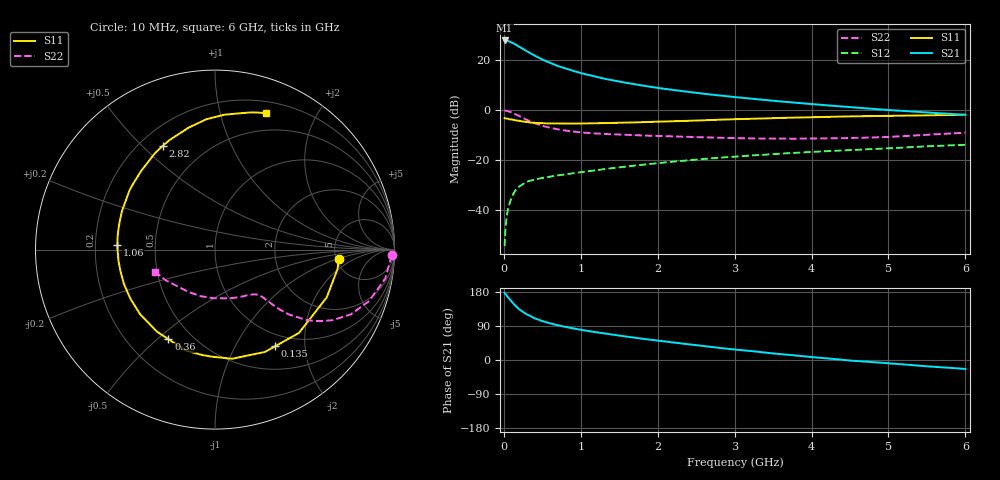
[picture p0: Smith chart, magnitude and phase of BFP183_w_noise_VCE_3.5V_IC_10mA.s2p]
! Infineon Technologies  Discrete & RF Semiconductors
! BFP183
! VCE = 3.5 V,  IC =  10 mA
! Common Emitter S-Parameters:  Jan 2016
# GHz  S  MA  R  50
!  f  S11  S21  S12  S22
! GHz  MAG  ANG  MAG  ANG  MAG  ANG  MAG  ANG
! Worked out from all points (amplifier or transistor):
!   210 points, 10 MHz to 6 GHz, reference 50 ohm
!   highest |S21| = 27.9 dB at 10 MHz (marker M1)
!   |S21| within 3 dB of that: start of sweep to 228.8 MHz
!   unconditionally stable (mu >= 1): 1.167 GHz to 5.585 GHz
!   at 185 MHz: K = 0.25, MSG = 28.4 dB, |S12| = -31.0 dB
!   at 1.52 GHz: K = 1.10, MAG = 15.2 dB, |S12| = -22.8 dB
!   at 6 GHz: K = 0.96, MSG = 6.0 dB, |S12| = -13.9 dB
!   lowest NFmin = 1.30 dB at 450 MHz
!   S11 on the Smith chart (normalised r, x): 10 MHz: 5.27, -1.10; 135 MHz: 0.82, -1.47; 360 MHz: 0.37, -0.54; 1.06 GHz: 0.30, +0.02; 2.82 GHz: 0.29, +0.58; 6 GHz: 0.31, +1.39
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0.01  0.6926 -4.5  24.93 177.3  0.0019 91.7  0.9853 -1.9
0.05  0.677 -23.2  24.51 166.3  0.0098 81.6  0.9625 -9.6
0.1  0.659 -44.8  22.78 154.0  0.0177 69.6  0.906 -18.4
0.135  0.6342 -58.1  21.33 146.5  0.0227 63.9  0.8573 -23.3
0.15  0.6345 -64.0  20.82 143.0  0.0249 62.2  0.8384 -25.5
0.2  0.6156 -81.1  18.85 133.7  0.0297 56.4  0.7637 -31.0
0.26  0.5915 -97.0  16.47 125.1  0.0341 50.9  0.6857 -35.5
0.3  0.5856 -106.2  15.14 120.3  0.0371 48.6  0.6393 -37.7
0.36  0.5625 -117.5  13.44 114.6  0.0394 46.0  0.5854 -39.7
0.4  0.5599 -125.3  12.39 110.0  0.041 44.5  0.5499 -41.2
0.5  0.551 -139.4  10.32 102.6  0.0443 41.8  0.4872 -42.9
0.6  0.545 -149.8  8.892 96.7  0.0467 41.7  0.4442 -43.7
0.8  0.5403 -166.6  6.851 87.3  0.0522 41.2  0.3916 -44.6
1.02  0.543 179.2  5.445 79.0  0.058 42.2  0.3582 -45.7
1.06  0.544 177.1  5.261 77.7  0.0591 42.3  0.3541 -46.0
1.5  0.5608 157.7  3.743 64.2  0.0718 43.1  0.3254 -50.1
2.02  0.5886 138.6  2.768 50.6  0.0881 42.9  0.3053 -58.1
2.82  0.6471 116.8  1.959 31.5  0.1125 39.4  0.281 -74.9
3.1  0.6666 110.2  1.773 25.8  0.1207 37.5  0.2743 -81.8
4.1  0.7326 92.0  1.29 6.1  0.1492 30.8  0.2715 -110.3
5.1  0.7748 78.9  0.987 -10.2  0.1758 24.5  0.2973 -138.4
6  0.8113 69.7  0.809 -23.6  0.2029 16.7  0.3557 -159.8
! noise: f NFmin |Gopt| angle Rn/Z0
0.45  1.3  0.15  45  0.18
0.9  1.4  0.2  125  0.19
1.8  2.1  0.34  -170  0.14
